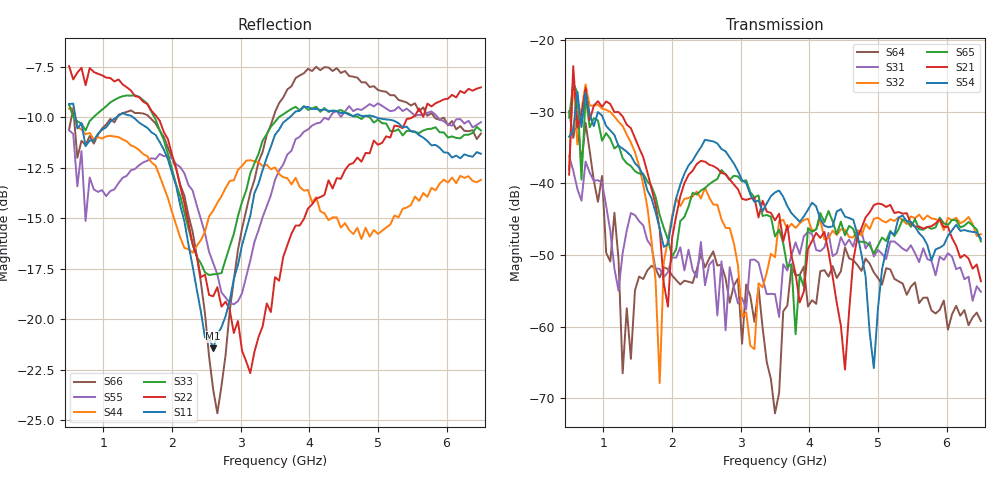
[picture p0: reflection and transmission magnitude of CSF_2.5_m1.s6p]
!Keysight Technologies,M9804A,MY58100912,A.14.10.03
!Date: Thursday, April 27, 2023 10:28:33
!Correction: S11(C  6-Port  )
!S12(C  6-Port  )
!S13(C  6-Port  )
!S14(C  6-Port  )
!S15(C  6-Port  )
!S16(C  6-Port  )
!S21(C  6-Port  )
!S22(C  6-Port  )
!S23(C  6-Port  )
!S24(C  6-Port  )
!S25(C  6-Port  )
!S26(C  6-Port  )
!S31(C  6-Port  )
!S32(C  6-Port  )
!S33(C  6-Port  )
!S34(C  6-Port  )
!S35(C  6-Port  )
!S36(C  6-Port  )
!S41(C  6-Port  )
!S42(C  6-Port  )
!S43(C  6-Port  )
!S44(C  6-Port  )
!S45(C  6-Port  )
!S46(C  6-Port  )
!S51(C  6-Port  )
!S52(C  6-Port  )
!S53(C  6-Port  )
!S54(C  6-Port  )
!S55(C  6-Port  )
!S56(C  6-Port  )
!S61(C  6-Port  )
!S62(C  6-Port  )
!S63(C  6-Port  )
!S64(C  6-Port  )
!S65(C  6-Port  )
!S66(C  6-Port  )
!S6P File: Measurement: :
# Hz S  RI  R 50
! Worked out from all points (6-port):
!   101 points, 500 MHz to 6.5 GHz, reference 50 ohm
!   strongest paths, dB at 500 MHz, 2 GHz, 3.5 GHz, 5 GHz, 6.5 GHz:
!     S54: -33.5, -45.0, -41.3, -57.5, -47.7
!     S21: -38.8, -47.6, -45.2, -42.8, -53.7
!     S65: -30.8, -50.2, -47.4, -48.7, -48.1
!     S32: -38.0, -44.6, -50.3, -44.8, -47.1
!     S31: -36.2, -50.4, -55.5, -49.3, -55.1
!     S64: -29.9, -52.8, -72.1, -53.2, -59.2
!   lowest |S11| = -21.4 dB at 2.6 GHz (marker M1), VSWR 1.19, Z = 42.5 + j2.17 ohm
!   |S11| at or under -10 dB: 593 MHz to 1.189 GHz (595.7 MHz wide, 66.9 % of centre); 1.432 GHz to 3.713 GHz (2.281 GHz wide, 88.7 % of centre); 4.972 GHz to end of sweep
